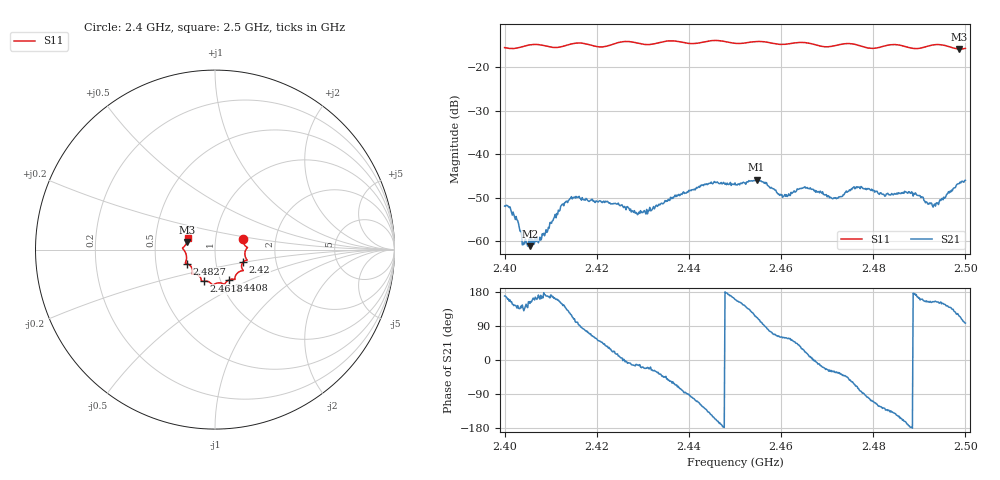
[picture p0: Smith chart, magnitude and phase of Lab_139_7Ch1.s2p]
# Hz S RI R 50
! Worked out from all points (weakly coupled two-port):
!   601 points, 2.4 GHz to 2.5 GHz, reference 50 ohm
!   highest |S21| = -45.87 dB at 2.4547 GHz (marker M1); lowest = -61.1 dB at 2.4055 GHz (marker M2)
!   lowest |S11| = -15.9 dB at 2.4987 GHz (marker M3), VSWR 1.38, Z = 36.5 + j3.23 ohm
!   |S11| at or under -10 dB: start of sweep to end of sweep
!   S12 and S22 are empty: the file has one direction only
!   S11 on the Smith chart (normalised r, x): 2.4 GHz: 1.36, +0.17; 2.42 GHz: 1.36, -0.19; 2.4408 GHz: 1.10, -0.38; 2.4618 GHz: 0.84, -0.30; 2.4827 GHz: 0.72, -0.12; 2.5 GHz: 0.73, +0.09
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2.4e9  0.1553 0.0616  -0.00249 0.000486  0 0  0 0
2.402333e9  0.1606 0.0323  -0.00144 0.00105  0 0  0 0
2.404333e9  0.1733 0.0167  -0.000664 0.000655  0 0  0 0
2.4055e9  0.1792 0.0133  -0.000756 0.000448  0 0  0 0
2.408333e9  0.1771 0.00754  -0.00114 0.00033  0 0  0 0
2.412833e9  0.1691 -0.0401  -0.0021 0.00145  0 0  0 0
2.416667e9  0.1787 -0.0591  0.000182 0.00296  0 0  0 0
2.42e9  0.157 -0.0692  0.00163 0.00239  0 0  0 0
2.428833e9  0.146 -0.1187  0.00196 -0.000468  0 0  0 0
2.433333e9  0.1119 -0.1526  0.00218 -0.00139  0 0  0 0
2.440833e9  0.0779 -0.1687  -0.000722 -0.00384  0 0  0 0
2.45e9  0.0273 -0.1852  -0.00439 0.00161  0 0  0 0
2.454667e9  -0.00967 -0.1961  -0.00194 0.0047  0 0  0 0
2.461833e9  -0.061 -0.175  0.00189 0.00278  0 0  0 0
2.466667e9  -0.0763 -0.168  0.00392 0.000432  0 0  0 0
2.4715e9  -0.1106 -0.1358  0.00275 -0.00155  0 0  0 0
2.476833e9  -0.125 -0.1258  0.00104 -0.00404  0 0  0 0
2.482667e9  -0.1577 -0.0775  -0.00223 -0.00247  0 0  0 0
2.483333e9  -0.1617 -0.0764  -0.0023 -0.00254  0 0  0 0
2.493333e9  -0.1802 0.00545  -0.00242 0.00115  0 0  0 0
2.498667e9  -0.1548 0.0431  -0.00199 0.00414  0 0  0 0
2.5e9  -0.1512 0.0628  -0.00064 0.00497  0 0  0 0
